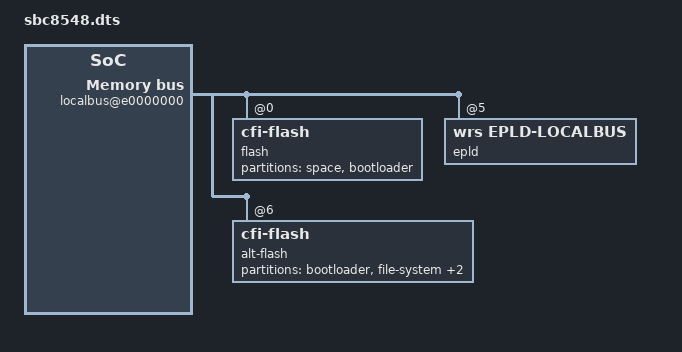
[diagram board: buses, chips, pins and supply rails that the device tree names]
/*
 * SBC8548 Device Tree Source
 *
 * Copyright 2007 Wind River Systems Inc.
 *
 * Paul Gortmaker (see MAINTAINERS for contact information)
 *
 * This program is free software; you can redistribute  it and/or modify it
 * under  the terms of  the GNU General  Public License as published by the
 * Free Software Foundation;  either version 2 of the  License, or (at your
 * option) any later version.
 */


/dts-v1/;

/include/ "sbc8548-pre.dtsi"

/{
	localbus@e0000000 {
		#address-cells = <2>;
		#size-cells = <1>;
		compatible = "simple-bus";
		reg = <0xe0000000 0x5000>;
		interrupt-parent = <&mpic>;

		ranges = <0x0 0x0 0xff800000 0x00800000		/*8MB Flash*/
			  0x3 0x0 0xf0000000 0x04000000		/*64MB SDRAM*/
			  0x4 0x0 0xf4000000 0x04000000 	/*64MB SDRAM*/
			  0x5 0x0 0xf8000000 0x00b10000		/* EPLD */
			  0x6 0x0 0xfb800000 0x04000000>;	/*64MB Flash*/


		flash@0,0 {
			#address-cells = <1>;
			#size-cells = <1>;
			compatible = "cfi-flash";
			reg = <0x0 0x0 0x800000>;
			bank-width = <1>;
			device-width = <1>;
			partition@0x0 {
				label = "space";
				reg = <0x00000000 0x00100000>;
			};
			partition@0x100000 {
				label = "bootloader";
				reg = <0x00100000 0x00700000>;
				read-only;
			};
		};

		epld@5,0 {
			compatible = "wrs,epld-localbus";
			#address-cells = <2>;
			#size-cells = <1>;
			reg = <0x5 0x0 0x00b10000>;
			ranges = <
				0x0 0x0 0x5 0x000000 0x1fff	/* LED */
				0x1 0x0 0x5 0x100000 0x1fff	/* Switches */
				0x3 0x0 0x5 0x300000 0x1fff	/* HW Rev. */
				0xb 0x0	0x5 0xb00000 0x1fff	/* EEPROM */
			>;

			led@0,0 {
				compatible = "led";
				reg = <0x0 0x0 0x1fff>;
			};

			switches@1,0 {
				compatible = "switches";
				reg = <0x1 0x0 0x1fff>;
			};

			hw-rev@3,0 {
				compatible = "hw-rev";
				reg = <0x3 0x0 0x1fff>;
			};

			eeprom@b,0 {
				compatible = "eeprom";
				reg = <0xb 0 0x1fff>;
			};

		};

		alt-flash@6,0 {
			#address-cells = <1>;
			#size-cells = <1>;
			reg = <0x6 0x0 0x04000000>;
			compatible = "cfi-flash";
			bank-width = <4>;
			device-width = <1>;
			partition@0x0 {
				label = "bootloader";
				reg = <0x00000000 0x00100000>;
				read-only;
			};
			partition@0x00100000 {
				label = "file-system";
				reg = <0x00100000 0x01f00000>;
			};
			partition@0x02000000 {
				label = "boot-config";
				reg = <0x02000000 0x00100000>;
			};
			partition@0x02100000 {
				label = "space";
				reg = <0x02100000 0x01f00000>;
			};
                };
        };
};

/include/ "sbc8548-post.dtsi"
